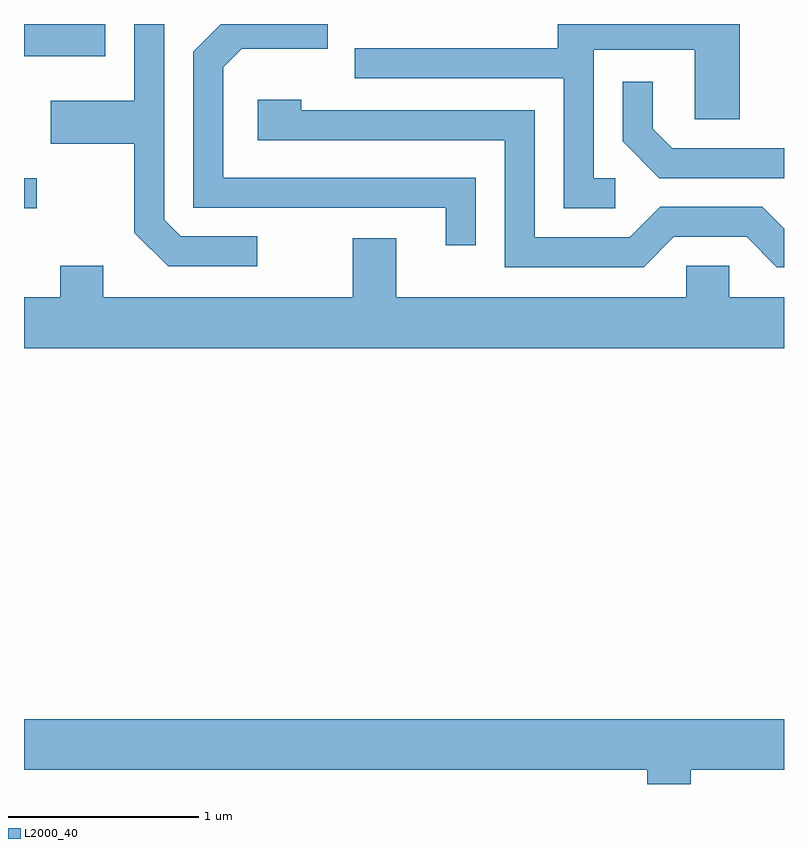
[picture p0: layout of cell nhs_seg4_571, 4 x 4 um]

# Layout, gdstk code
import gdstk
lib = gdstk.Library(unit=1e-6, precision=1e-09)
def R(c, l, rs):  # rectangles x0, y0, x1, y1
    for r in rs: c.add(gdstk.rectangle(r[:2], r[2:], *l))
def P(c, l, *ps):  # polygons
    for p in ps: c.add(gdstk.Polygon(p, *l))
L2000_40 = (2000, 40)

nhs_seg4_571 = lib.new_cell('nhs_seg4_571')
R(nhs_seg4_571, L2000_40, [(201.611,1311.011,201.678,1311.169), (201.611,1311.811,202.039,1311.982)])
P(nhs_seg4_571, L2000_40, [(203.989,1311.174),(202.659,1311.174),(202.659,1311.754),(202.757,1311.851),(203.209,1311.851),(203.209,1311.982),(202.647,1311.982),(202.501,1311.837),(202.501,1311.016),(203.831,1311.016),(203.831,1310.818),(203.989,1310.818)],
  [(202.838,1310.864),(202.437,1310.864),(202.349,1310.952),(202.349,1311.982),(202.191,1311.982),(202.191,1311.579),(201.751,1311.579),(201.751,1311.351),(202.191,1311.351),(202.191,1310.884),(202.369,1310.706),(202.838,1310.706)],
  [(204.723,1311.169),(204.609,1311.169),(204.609,1311.846),(205.141,1311.846),(205.141,1311.481),(205.379,1311.481),(205.379,1311.982),(204.421,1311.982),(204.421,1311.854),(203.353,1311.854),(203.353,1311.696),(204.451,1311.696),(204.451,1311.011),(204.723,1311.011)],
  [(205.611,1311.329),(205.022,1311.329),(204.919,1311.432),(204.919,1311.678),(204.761,1311.678),(204.761,1311.364),(204.954,1311.171),(205.611,1311.171)],
  [(205.032,1310.861),(205.414,1310.861),(205.574,1310.701),(205.611,1310.701),(205.611,1310.905),(205.497,1311.019),(204.959,1311.019),(204.799,1310.859),(204.299,1310.859),(204.299,1311.529),(203.069,1311.529),(203.069,1311.584),(202.841,1311.584),(202.841,1311.371),(204.141,1311.371),(204.141,1310.701),(204.872,1310.701)],
  [(205.611,1310.544),(205.324,1310.544),(205.324,1310.709),(205.096,1310.709),(205.096,1310.544),(203.569,1310.544),(203.569,1310.854),(203.341,1310.854),(203.341,1310.544),(202.029,1310.544),(202.029,1310.709),(201.801,1310.709),(201.801,1310.544),(201.611,1310.544),(201.611,1310.276),(205.611,1310.276)],
  [(205.119,1308.056),(205.611,1308.056),(205.611,1308.324),(201.611,1308.324),(201.611,1308.056),(204.891,1308.056),(204.891,1307.982),(205.119,1307.982)])

lib.write_gds('nhs_seg4_571.gds')
